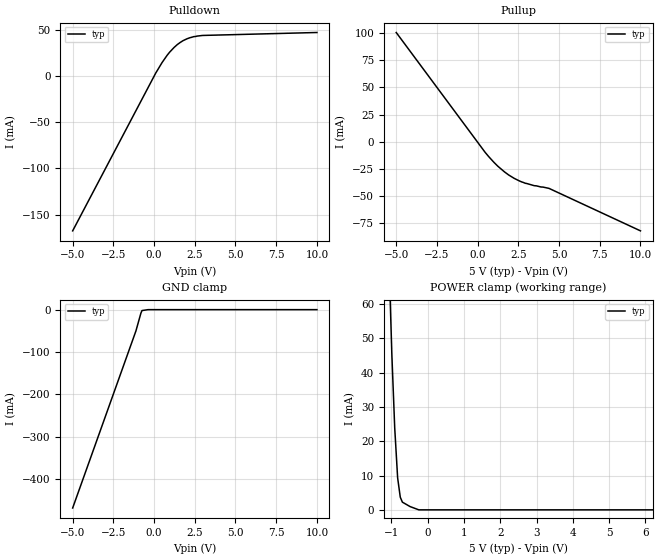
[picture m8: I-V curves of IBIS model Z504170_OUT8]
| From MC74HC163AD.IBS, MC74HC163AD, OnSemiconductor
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| (C) COPYRIGHT 1993-2000
| MENTOR GRAPHICS CORPORATION
| ICX STANDARD LIBRARY, ICX PROJECT MODELING,
| ICX CUSTOM MODELING, ICX VENDOR MODEL
| ALL RIGHTS RESERVED.
| THE FOLLOWING ARE TRADEMARKS OR SERVICE MARKS OF
| MENTOR GRAPHICS CORPORATION:ICX (R), ICX STANDARD
| LIBRARY(R), ICX PROJECT MODELING(R), ICX CUSTOM
| MODELING(R), qualityIBIS(TM), MODELVIEWER(TM),
| AND MODELEDITOR(TM)
| ALL COPIES OF SOFTWARE, INCLUDING BUT NOT LIMITED TO
| ANY MODIFICATIONS, ENHANCEMENTS OR DERIVATIVE WORKS,
| MUST CONTAIN ALL MENTOR GRAPHICS CORPORATION'S
| NOTICES AND LEGENDS, INCLUDING THOSE EMBEDDED IN
| SOFTWARE AND THOSE AFFIXED TO SOFTWARE MEDIUM
| AND CONTAINER, AS RECEIVED FROM MENTOR GRAPHICS
| CORPORATION.
| Model Application Version 1.89 2/18/99.
[Model] Z504170_OUT8
Model_type Output
Vref=0.000V
Rref=500.0Mohms
Cref=50.00pF
Vmeas=2.500V
C_comp 8.000pF NA NA
| variable typ   min   max
[Voltage Range] 5.000V NA NA
[POWER Clamp Reference] 5.000V NA NA
[Pullup Reference] 5.000V NA NA
[Pulldown Reference] 0.000V NA NA
[GND Clamp Reference] 0.000V NA NA
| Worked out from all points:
|   slope of the pulldown table from 0 to 0.75 V, typ, clamps not added: 35.1 ohm
|   slope of the pullup table from 0 to 0.75 V, typ, clamps not added: 52.2 ohm
|   POWER clamp passes 1 mA (typ) near -0.49 V on its own axis
[GND Clamp]
-5V       -468.7mA   NA         NA
-1.113V   -50.1mA    NA         NA
-810.5mV  -8.421mA   NA         NA
-742.1mV  -2.126mA   NA         NA
-371.1mV  0A         NA         NA
10V       0A         NA         NA
[Pulldown]
-5V       -167.7mA   NA         NA
102.5mV   3.469mA    NA         NA
488.6mV   14.78mA    NA         NA
800.9mV   22.72mA    NA         NA
1.427V    34.35mA    NA         NA
1.784V    38.64mA    NA         NA
2.218V    41.89mA    NA         NA
2.972V    44.24mA    NA         NA
10V       47.44mA    NA         NA
[Pullup]
-5V       100.4mA    NA         NA
452mV     -9.594mA   NA         NA
1.001V    -18.94mA   NA         NA
1.65V     -27.73mA   NA         NA
2.241V    -33.63mA   NA         NA
2.734V    -37.11mA   NA         NA
3.472V    -40.38mA   NA         NA
4.385V    -42.89mA   NA         NA
10V       -81.92mA   NA         NA
[POWER Clamp]
-5V       2.045A     NA         NA
-1.299V   172.5mA    NA         NA
-1.099V   85.3mA     NA         NA
-984mV    45.29mA    NA         NA
-905mV    23.86mA    NA         NA
-825mV    9.348mA    NA         NA
-752mV    3.681mA    NA         NA
-694mV    2.241mA    NA         NA
-483mV    958.2uA    NA         NA
-241.5mV  0A         NA         NA
10V       0A         NA         NA
[Ramp]
| variable typ min max
dV/dt_r 2.743/1.193n NA NA
dV/dt_f 2.743/1.286n NA NA
R_load = 500.0Ohms
